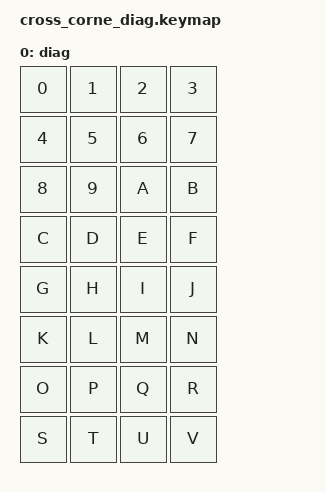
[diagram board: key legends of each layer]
#include <behaviors.dtsi>
#include <dt-bindings/zmk/keys.h>

/*
 * 32 positions (8 rows × 4 cols)
 * pos 0-9  → '0'-'9'
 * pos 10-31 → 'a'-'v'
 *
 * Lookup: row_idx * 4 + col_idx = position → char
 *
 * Confirmed:
 *   row 3 (gpio0 29) + col 0 (gpio1 11) = pos 12 → 'c'
 *   row 3 (gpio0 29) + col 1 (gpio1 13) = pos 13 → 'd'
 *   row 3 (gpio0 29) + col 2 (gpio1 15) = pos 14 → 'e'
 *
 * If pressing a key outputs 'a' → pos 10 → row 2 (gpio0 20), col 2 (gpio1 15)
 * If pressing a key outputs '0' → pos 0  → row 0 (gpio0 6),  col 0 (gpio1 11)
 */

/ {
    chosen {
        zmk,matrix_transform = &diag_transform;
    };

    keymap {
        compatible = "zmk,keymap";
        diag {
            bindings = <
/* row0 */ &kp N0 &kp N1 &kp N2 &kp N3
/* row1 */ &kp N4 &kp N5 &kp N6 &kp N7
/* row2 */ &kp N8 &kp N9 &kp A  &kp B
/* row3 */ &kp C  &kp D  &kp E  &kp F
/* row4 */ &kp G  &kp H  &kp I  &kp J
/* row5 */ &kp K  &kp L  &kp M  &kp N
/* row6 */ &kp O  &kp P  &kp Q  &kp R
/* row7 */ &kp S  &kp T  &kp U  &kp V
            >;
        };
    };
};
